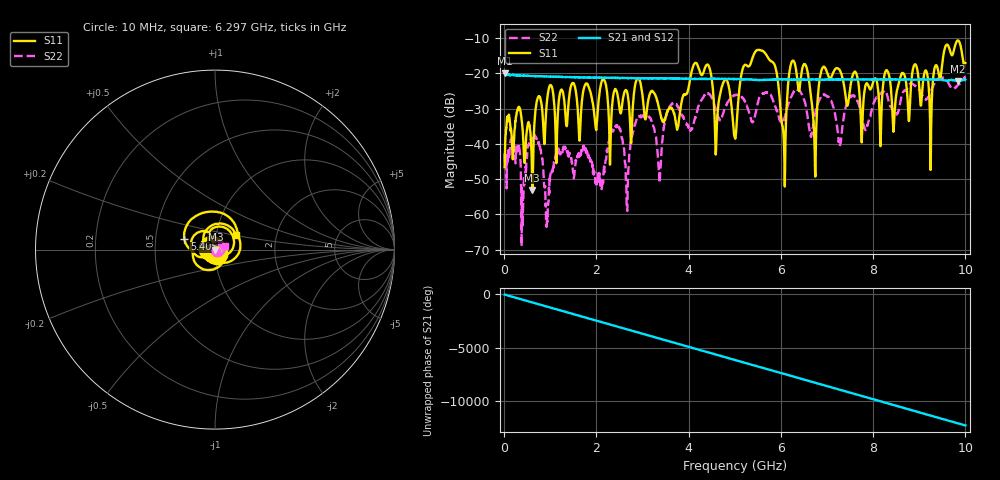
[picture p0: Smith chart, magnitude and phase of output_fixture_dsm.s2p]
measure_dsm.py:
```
from matplotlib import pyplot as plt
from lib.VST_Measurement_System import MeasurementSystem
from lib.logger_setup import setup_logging
from lib.external_instrs.RTP import RTP
from lib.external_instrs.E34401A import E34401A
from lib.align_dsm import DsmAligner
from lib.SweepVar import SweepVar, Sweep, sweep_to_xarray_from_func
import pyvisa
import numpy as np
import skrf as rf
from lib.waveform_generator import Multitone_Waveform_Generator as AWG
from lib.vst_util_lib import acpr_manager, imd3_manager, dbm2w, calc_td_powers
from lib.RKL_TOOLS import find_nearest_idx, normalize, calculate_am_xm
from lib.multitone_signal_lib import MultitoneSignal
import xarray as xr
"""
Initialize the VST 
"""

#URL of the VST
ccsURL = "tcp://128.138.189.140:7531/CCS.rem"

#setings for the VST
GATE_SOURCE_IDX = 3
DRAIN_SOURCE_IDX = 0
DRAIN_IDX_LCL = 0
GATE_IDX_LCL = 2
GATE_ANALYZER_IDX = 0
DRAIN_ANALYZER_IDX = 2
QUIESCENT_GATE = 2.1e-3  # A
QUIESCENT_DRAIN = 66e-3  # A
GATE_PINCH_OFF = -3.2
GATE_BIAS_INIT = -2.7  # V
GATE_CURRENT_LIMIT = 15e-3

GATE_MIN_MAX_V = [-4, -2.2]  # volts
DRAIN_MIN_MAX_V = [10, 28]  # volts
DRAIN_BIAS_INIT = 28  # V
DRAIN_MAX_CURRENT = 1.5  # A
DRAIN_OSC_THRESHOLD = 100e-3
GATE_STEP = 1e-2
Z0 = 50

DSM = True # true if we are running the DSM, false if PA is statically biased
voltage_lvl = 26
IS_TWO_TONE = True
descr_str = "dyn_2_level"

# create the sweep variables
# pwr_levels = SweepVar.from_linspace("pwr_level", 1, 31, 16)
pwr_levels = SweepVar.from_list("pwr_level", list(np.arange(1,35,step=2)))
# signals_i = SweepVar.from_list("signals", [0,1,2,3])

#this is the signal power that we want to measure.
signal_power = 0

#hardcoded for now, used to set up oscilloscope
f0 = 4.25e9
signal_bw = 2e6
oversample_rate = 2
signal_period = 1/signal_bw
num_periods = 6

rf_chan = 1
dsm_chan = 3


## Initialize the logger
log = setup_logging("test.log")


## Initialize the VST system
VstSys = MeasurementSystem(ccsURL, GATE_SOURCE_IDX, DRAIN_SOURCE_IDX, GATE_IDX_LCL, DRAIN_IDX_LCL,
                            GATE_ANALYZER_IDX, DRAIN_ANALYZER_IDX, QUIESCENT_GATE, QUIESCENT_DRAIN, GATE_CURRENT_LIMIT,
                            DRAIN_OSC_THRESHOLD, DRAIN_MAX_CURRENT, GATE_MIN_MAX_V, DRAIN_MIN_MAX_V, GATE_PINCH_OFF,
                            GATE_BIAS_INIT, DRAIN_BIAS_INIT, log)


#load all tones on the measurement grid into the source (work-around at this point--just excite the entire grid)
grid_indices = VstSys.measurement_grid.index(about_center=True)
VstSys.source1.OutputEnabled = False
VstSys.source1.PlayMultitone(grid_indices, np.full_like(grid_indices,0), np.full_like(grid_indices,0))
VstSys.source2.OutputEnabled = False
VstSys.source2.PlayMultitone(grid_indices, np.full_like(grid_indices,0), np.full_like(grid_indices,0))

#create the VST tuners
VstSys.create_tuners()
source_tuner = VstSys.tuners[0]
load_tuner   = VstSys.tuners[1]

#assume that the source tuner is matched
VstSys.find_reflection_coefficients(source_1_power=-30, source_2_power=-30, return_power_lvl=-30, use_grid="tuner")
source_tuner.gamma_0 = source_tuner.grid.full_like(0, dtype="complex")
load_tuner.gamma_0   = load_tuner.grid.full_like(0, dtype="complex")


#load signal onto source 1
awg = AWG("one_word", VstSys.measurement_grid, center_frequency=4.25e9, signal_bandwidth=2e6)
sig, par_found = awg.get_signal_with_par(3)
log.info(f"Loading signal with PAR of {par_found:.2f}dB")
# sig = MultitoneSignal.single_tone(4.25e9, VstSys.measurement_grid, power=dbm2w(signal_power), side_tones_amp=-30)


#perform tuner setup with the generated signal
VstSys.setup_tuners(dbm2w(signal_power), with_signal=sig)

#have the tuner perform autoleveling 
source_tuner.move_to(gamma_des=source_tuner.gamma_0)

#EXPLICITLY load the SIGNAL into SOURCE 2
load_tuner.S0  = sig

# source_tuner.Source.on()
# VstSys.load_signal(sig, 1)
if IS_TWO_TONE:
    linearity_calculator = imd3_manager(sig, VstSys.measurement_grid)
else:
    linearity_calculator = acpr_manager(sig, VstSys.measurement_grid, guard_bandwidth=100e3)

 
#load the signal into source 2
source = VstSys.source1
rel_ph = np.array(list(map(float,source.RelativeMultiTones.RelativePhases))) 
rel_amp = np.array(list(map(float, source.RelativeMultiTones.RelativeAmplitudes)))
source1_power = source.OutputLevel

#now transfer this signal to the second source
sig_indices = VstSys.measurement_grid.cast_index(sig.grid, about_center=True)
source = VstSys.source2
source.OutputLevel = source1_power
source.PlayMultitone((list(sig_indices)), rel_amp, rel_ph)

#initalize the visa interface
rm = pyvisa.ResourceManager()

# initialize the scope
scope = RTP(rm, "TCPIP0::128.138.189.100::inst0::INSTR", log, "scope")
# load the output fixture into the scope object for de-embedding
scope.fixtures[0] = rf.Network(r"fixtures/output_fixture_dsm.s2p")

#setup the oscilloscope sampling and horizontal timebase
scope.set_acq_time(num_periods*signal_period)
scope.set_sample_rate(oversample_rate*(f0))


# initialize the current meters
bias_current_meter = E34401A(rm, "GPIB1::29::INSTR", log, "meter1")
main_current_meter = E34401A(rm, "GPIB1::19::INSTR", log, "meter1")
bias_current_meter.auto_range()
main_current_meter.auto_range()


#initialize the aligner
aligner = DsmAligner(scope=scope,
                     log=log,
                     rf_source=VstSys.source1,
                     signal_period=signal_period,
                     pa_chn=rf_chan,
                     dsm_chn=dsm_chan)

# turn on the rf source
source_tuner.Source.on()

# create aligner and align the DSM and the RFPA
if DSM:
    aligner.align(debug=True, atol=1e-10, n_its=20)

#create the sweep object
sweep = Sweep([pwr_levels], inner_to_outer=True)

#get freqs for creating xarrays
freqs = VstSys.freqs

# dummy again for creating xarrays
t_scope, rf_td_wavefrom  = scope.get_td_data(rf_chan)

# dummy again for creating xarrays
measuredSpectra = VstSys.get_rf_data()
a1 = measuredSpectra[0, :]
b1 = measuredSpectra[1, :]
a2 = measuredSpectra[2, :]
b2 = measuredSpectra[3, :]
_, _, t_vst = calc_td_powers(a1, b1, a2, b2, freqs)

# lockout the phase updates in the VST measurment system 
VstSys.lockout_updates = True

# measurement function to be called for each point in the sweep
def measure(pwr_level):

    #todo set power level
    sig.power = dbm2w(pwr_level)
    source_tuner.move_to()

    # # create aligner and align the DSM and the RFPA
    # if DSM:
    #     aligner.align(debug=False, atol=1e-9, n_its=20)

    scope.auto_scale(rf_chan)
    t_scope, rf_td_wavefrom  = scope.get_td_data(rf_chan)
    scope.auto_scale(dsm_chan)
    _, dsm_td_waveform = scope.get_td_data(dsm_chan)
    i_bias = bias_current_meter.meas_dc_current()
    i_main = main_current_meter.meas_dc_current()

    # measuredSpectra = VstSys.get_rf_data()
    a1 = VstSys.measuredSpectra[0, :]
    b1 = VstSys.measuredSpectra[1, :]
    a2 = VstSys.measuredSpectra[2, :]
    b2 = VstSys.measuredSpectra[3, :]

    pout = (np.abs(b2)**2) / (2*Z0)

    pin = (np.abs(a1)**2) / (2*Z0)

    pin_spectrum_db = 10*np.log10(pin) + 30
    pout_spectrum_db = 10*np.log10(pout) + 30

    pout_db = 10*np.log10(np.sum(pout)) + 30
    pin_db = 10*np.log10(np.sum(pin)) + 30
    gain_db = pout_db - pin_db

    # acpr = acpr_calculator.calc_acpr(pout)
    linearity_low, linearity_high, _ = linearity_calculator.calculate(pout)

    # pin_t, pout_t, t = calc_td_powers(a1, np.zeros_like(a1, dtype=complex), np.zeros_like(b2, dtype=complex), b2, freqs)
    pin_t, pout_t, t = calc_td_powers(a1, np.zeros_like(a1), np.zeros_like(b2), b2, freqs)

    gain_cplx = pout_t / pin_t


    pin_t_db = 10*np.log10(np.abs(pin_t)) + 30


    am_am = 10*np.log10(np.abs(gain_cplx))
    am_pm = np.angle(gain_cplx, deg=True)


    # compute PAE, Pdc, Pout, Pin, Gain, IMD3/ACPR, AM_AM, AM_PM


    data = {
        "Pout_db": pout_db,
        "Pin_db": pin_db,
        "Gain_db": gain_db,
        "i_bias": i_bias,
        "i_main": i_main,
        "linearity_high_dbc": linearity_high,
        "linearity_low_dbc": linearity_low,
        "gain_mag_t": am_am,
        "gain_ang_t": am_pm,
        "pin_t_db": pin_t_db,
        "pin_spectrum_db": pin_spectrum_db,
        "pout_spectrum_db": pout_spectrum_db,
        "pa_td_waveform": rf_td_wavefrom,
        "dsm_td_waveform": dsm_td_waveform,
    }
    return data

output_dims = {
        "Pout_db": [],
        "Pin_db": [],
        "Gain_db": [],
        "i_bias": [],
        "i_main": [],
        "linearity_high_dbc": [],
        "linearity_low_dbc": [],
        "gain_mag_t": [("vst_time", t_vst)],
        "gain_ang_t": [("vst_time", t_vst)],
        "pin_t_db": [("vst_time", t_vst)],
        "pin_spectrum_db": [("frequency", freqs)],
        "pout_spectrum_db": [("frequency", freqs)],
        "pa_td_waveform": [("time", t_scope)],
        "dsm_td_waveform": [("time", t_scope)],

    }



ds = sweep_to_xarray_from_func(sweep, measure, output_dims=output_dims)

source_tuner.Source.off()
print(ds)
if IS_TWO_TONE:
    ds.attrs["linearity_metric"] = "IMD3"
else:
    ds.attrs["linearity_metric"] = "ACPR"
ds.attrs["signal"] = "CW"
ds.attrs["voltage_level"] = voltage_lvl
ds.attrs["dynamic_supply"] = DSM
ds.to_netcdf(f"two_tone_{descr_str}_{voltage_lvl}v.h5", engine="h5netcdf", invalid_netcdf=True)
print(f"pout_db: {ds.Pout_db.values}")
print(f"pin_db: {ds.Pin_db.values}")
print(f"gain_db: {ds.Gain_db.values}")

plt.ioff()
fig, ax = plt.subplots()
ax.scatter(ds.pin_t_db.values[-1], ds.gain_mag_t.values[-1], label="am-am")
plt.legend()
plt.ylim((0,20))
plt.xlim(-100,100)
plt.show()

fig, ax = plt.subplots()
ax.scatter(ds.pin_t_db.values[-1], ds.gain_ang_t.values[-1], label="am-pm")
plt.legend()
plt.ylim((-180,180))
plt.xlim(-100,100)
plt.show()

fig, ax = plt.subplots()
ax.plot(ds.frequency.values, ds.pin_spectrum_db.values[-1], label="pin")
ax.plot(ds.frequency.values, ds.pout_spectrum_db.values[-1], label="pout")
plt.legend()
plt.show()

fig, ax = plt.subplots()
ax.plot(ds.time.values, ds.pa_td_waveform.values[-1], label="pa")
# ax.plot(ds.time.values, ds.dsm_td_waveform.values[-1], label="dsm")
plt.legend()
plt.show()

print("DONE")
```
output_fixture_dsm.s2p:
!Agilent Technologies,E8364C,MY43040861,A.09.42.22
!Agilent E8364C: A.09.42.22
!Date: Friday, August 08, 2025 15:08:16
!Correction: S11(Full 2 Port(1,2))
!S21(Full 2 Port(1,2))
!S12(Full 2 Port(1,2))
!S22(Full 2 Port(1,2))
!S2P File: Measurements: S11, S21, S12, S22:
# Hz S  RI  R 50
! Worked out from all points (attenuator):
!   1601 points, 10 MHz to 10 GHz, reference 50 ohm
!   highest |S21| = -19.98 dB at 10 MHz (marker M1); lowest = -22.2 dB at 9.844 GHz (marker M2)
!   lowest |S11| = -53.1 dB at 609.4 MHz (marker M3), VSWR 1.00, Z = 50.2 - j0.0786 ohm
!   |S11| at or under -10 dB: start of sweep to end of sweep
!   |S22| runs from -69.0 to -20.9 dB; largest |S21 - S12| = 0.006
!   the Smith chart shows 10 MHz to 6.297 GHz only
!   S11 on the Smith chart (normalised r, x): 10 MHz: 1.01, -0.01; 5.405 GHz: 0.70, +0.08; 6.297 GHz: 1.25, +0.20
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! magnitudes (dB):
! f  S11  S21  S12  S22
! 10 MHz  -46.6  -20.0  -19.8  -42.7
! 609.4 MHz  -53.1  -20.7  -20.7  -39.0
! 927.8 MHz  -27.9  -20.9  -20.9  -60.4
! 4.156 GHz  -17.0  -21.5  -21.6  -32.2
! 5.005 GHz  -38.1  -21.6  -21.6  -26.1
! 5.405 GHz  -14.9  -21.8  -21.8  -33.5
! 6.06 GHz  -38.0  -21.7  -21.7  -33.1
! 6.297 GHz  -17.0  -21.8  -21.8  -24.9
! 6.735 GHz  -42.7  -21.7  -21.7  -31.8
! 9.844 GHz  -10.7  -22.2  -22.1  -23.2
! 10 GHz  -17.1  -21.8  -21.8  -20.9
